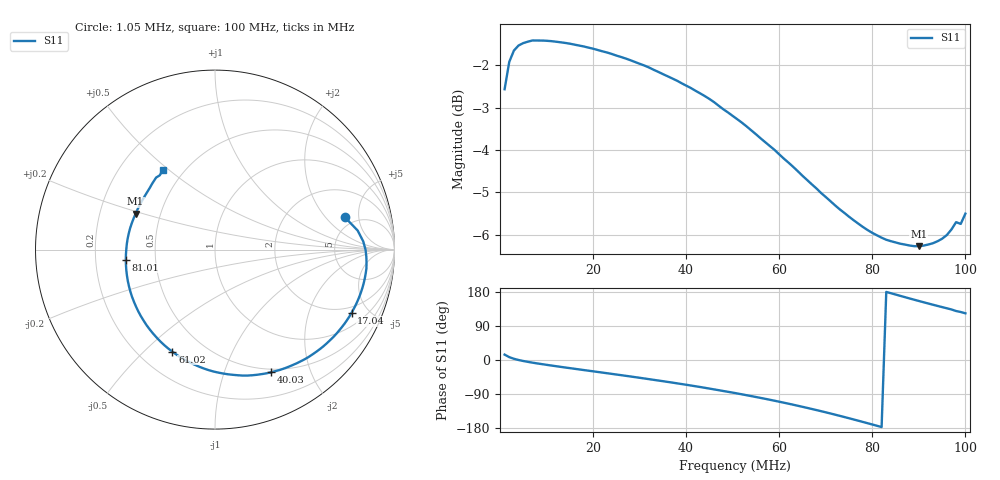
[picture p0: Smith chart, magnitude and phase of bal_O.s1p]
# Hz S RI R 50
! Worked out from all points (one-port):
!   100 points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, 1.05 MHz to 100 MHz, reference 50 ohm
!   lowest |S11| = -6.3 dB at 90 MHz (marker M1), VSWR 2.89, Z = 18 + j9.4 ohm
!   |S11| at or under -10 dB: nowhere
!   S11 on the Smith chart (normalised r, x): 1.05 MHz: 4.02, +3.30; 17.04 MHz: 1.64, -3.89; 40.03 MHz: 0.46, -1.46; 61.02 MHz: 0.33, -0.61; 81.01 MHz: 0.33, -0.05; 100 MHz: 0.39, +0.48
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1049500  0.7216 0.1827
2049000  0.7949 0.1059
3048500  0.8258 0.046
4048000  0.8386 -1.21e-05
8046000  0.8395 -0.133
1.4043e7  0.7948 -0.2852
1.70415e7  0.761 -0.3518
2.2039e7  0.6907 -0.4519
2.6037e7  0.6228 -0.5222
3.2034e7  0.5025 -0.6095
3.90305e7  0.3388 -0.6767
4.003e7  0.3142 -0.683
4.50275e7  0.1823 -0.7017
5.10245e7  0.0199 -0.6856
5.6022e7  -0.1137 -0.6413
6.10195e7  -0.2374 -0.5687
6.30185e7  -0.283 -0.5321
6.70165e7  -0.3634 -0.4451
7.0015e7  -0.413 -0.3709
7.6012e7  -0.4795 -0.2038
8.10095e7  -0.497 -0.0559
8.50075e7  -0.4866 0.0616
8.8006e7  -0.4637 0.147
9.0005e7  -0.4428 0.1993
9.70015e7  -0.349 0.3693
9.8001e7  -0.328 0.4014
9.90005e7  -0.3079 0.4139
1e8  -0.2903 0.444
